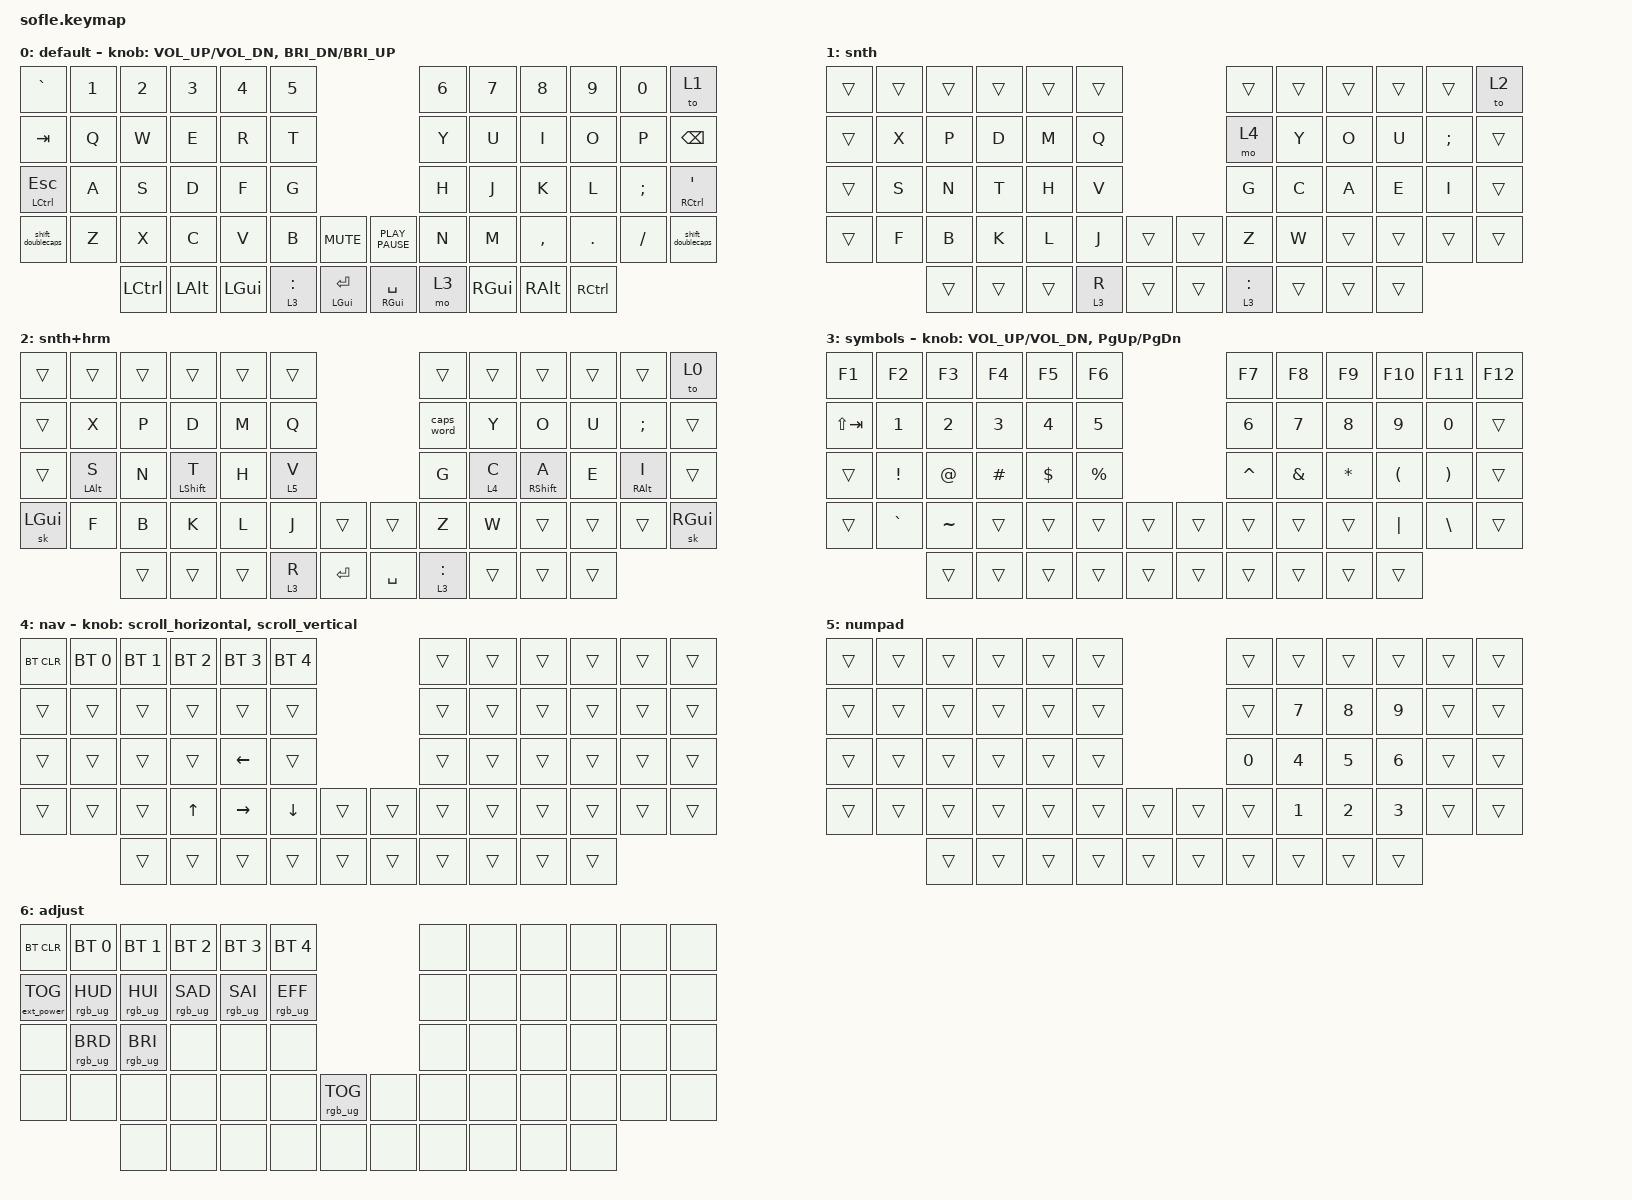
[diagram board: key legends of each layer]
/*
 * Copyright (c) 2020 The ZMK Contributors
 *
 * SPDX-License-Identifier: MIT
 */

#define ZMK_POINTING_DEFAULT_SCRL_VAL 140
#define ZMK_MOUSE_DEFAULT_SCRL_VAL 140
#define ZMK_MOUSE_SCRL_VAL 140

#include <behaviors.dtsi>
#include <dt-bindings/zmk/bt.h>
#include <dt-bindings/zmk/ext_power.h>
#include <dt-bindings/zmk/keys.h>
#include <dt-bindings/zmk/pointing.h>
#include <dt-bindings/zmk/rgb.h>

#define BASE 0
#define LOWER 1
#define RAISE 2
#define ADJUST 3

&led_strip { chain-length = <36>; };

&nice_view_spi { cs-gpios = <&pro_micro 4 GPIO_ACTIVE_HIGH>; };

&mt {
    flavor = "balanced";
    require-prior-idle-ms = <115>;
};

&lt {
    flavor = "balanced";
    require-prior-idle-ms = <115>;
};

/ {
    // Activate ADJUST layer by pressing raise and lower

    conditional_layers {
        compatible = "zmk,conditional-layers";

        adjust_layer {
            if-layers = <3 4>;
            then-layer = <6>;
        };
    };

    behaviors {
        scroll_vertical: scroll_vertical {
            compatible = "zmk,behavior-sensor-rotate";
            label = "SCROLL_VERTICAL";
            #sensor-binding-cells = <0>;
            bindings = <&msc SCRL_UP>, <&msc SCRL_DOWN>;

            tap-ms = <20>;
        };

        scroll_horizontal: scroll_horizontal {
            compatible = "zmk,behavior-sensor-rotate";
            label = "SCROLL_HORIZONTAL";
            #sensor-binding-cells = <0>;
            bindings = <&msc SCRL_LEFT>, <&msc SCRL_RIGHT>;

            tap-ms = <20>;
        };

        layer_hold_layer_tap_stick: layer_hold_layer_tap_stick {
            compatible = "zmk,behavior-hold-tap";
            label = "LAYER_HOLD_LAYER_TAP_STICK";
            bindings = <&mo>, <&sl>;

            #binding-cells = <2>;
            tapping-term-ms = <150>;
        };

        shift_doublecaps: shift_doublecaps {
            compatible = "zmk,behavior-tap-dance";
            label = "SHIFT_DOUBLECAPS";
            #binding-cells = <0>;
            bindings = <&kp LEFT_SHIFT>, <&kp CAPS>;
        };

        hold_symbols_double_toggle_nav: hold_symbols_double_toggle_nav {
            compatible = "zmk,behavior-tap-dance";
            label = "HOLD_SYMBOLS_DOUBLE_TOGGLE_NAV";
            #binding-cells = <0>;
            bindings = <&mo 3>, <&tog 0>;
        };

        mod_sticky: mod_sticky {
            compatible = "zmk,behavior-hold-tap";
            label = "MOD_STICKY";
            bindings = <&kp>, <&sk>;

            #binding-cells = <2>;
            tapping-term-ms = <150>;
        };

        hrm_right: hrm_right {
            compatible = "zmk,behavior-hold-tap";
            label = "HRM_RIGHT";
            bindings = <&kp>, <&kp>;

            #binding-cells = <2>;
            tapping-term-ms = <280>;
            require-prior-idle-ms = <150>;
            flavor = "balanced";
            hold-trigger-on-release;
            hold-trigger-key-positions = <13 14 15 16 17 25 26 27 28 29 37 38 39 40 41 53 12>;
            quick-tap-ms = <175>;
        };

        hrm_left: hrm_left {
            compatible = "zmk,behavior-hold-tap";
            label = "HRM_LEFT";
            bindings = <&kp>, <&kp>;

            #binding-cells = <2>;
            tapping-term-ms = <280>;
            require-prior-idle-ms = <150>;
            flavor = "balanced";
            hold-trigger-on-release;
            quick-tap-ms = <175>;
            hold-trigger-key-positions = <18 19 20 21 22 30 31 32 33 34 44 45 46 47 48 35>;
        };

        hrm_right_layer: hrm_right_layer {
            compatible = "zmk,behavior-hold-tap";
            label = "HRM_RIGHT_LAYER";
            bindings = <&mo>, <&kp>;

            #binding-cells = <2>;
            tapping-term-ms = <280>;
            require-prior-idle-ms = <150>;
            flavor = "balanced";
            hold-trigger-on-release;
            hold-trigger-key-positions = <13 14 15 16 17 25 26 27 28 29 37 38 39 40 41 53 12>;
            quick-tap-ms = <175>;
        };

        hrm_left_layer: hrm_left_layer {
            compatible = "zmk,behavior-hold-tap";
            label = "HRM_LEFT_LAYER";
            bindings = <&mo>, <&kp>;

            #binding-cells = <2>;
            tapping-term-ms = <280>;
            require-prior-idle-ms = <150>;
            flavor = "balanced";
            hold-trigger-on-release;
            quick-tap-ms = <175>;
            hold-trigger-key-positions = <18 19 20 21 22 30 31 32 33 34 44 45 46 47 48 35>;
        };
    };

    combos {
        compatible = "zmk,combos";

        JK_lbracket {
            bindings = <&kp LEFT_BRACKET>;
            key-positions = <31 32>;
        };

        KL_rbracket {
            bindings = <&kp RIGHT_BRACKET>;
            key-positions = <33 32>;
        };

        commadot_underscore {
            bindings = <&kp UNDERSCORE>;
            key-positions = <46 47>;
        };

        mcomma_minus {
            bindings = <&kp MINUS>;
            key-positions = <46 45>;
        };

        dotslatsh_equals {
            bindings = <&kp EQUAL>;
            key-positions = <47 48>;
        };

        nm_plus {
            bindings = <&kp PLUS>;
            key-positions = <44 45>;
        };

        HJ-brace {
            bindings = <&kp LEFT_BRACE>;
            key-positions = <31 30>;
        };

        lcolon-brace {
            bindings = <&kp RIGHT_BRACE>;
            key-positions = <33 34>;
        };

        cut {
            bindings = <&kp LG(X)>;
            key-positions = <37 38>;
        };

        copy {
            bindings = <&kp LG(C)>;
            key-positions = <38 39>;
        };

        paste {
            bindings = <&kp LG(V)>;
            key-positions = <39 40>;
        };

        special_paste {
            bindings = <&kp LA(V)>;
            key-positions = <40 41>;
        };

        numpad-layer {
            bindings = <&mo 5>;
            key-positions = <28 27>;
            layers = <2>;
        };
    };

    keymap {
        compatible = "zmk,keymap";

        qwerty {
            display-name = "default";

            // ------------------------------------------------------------------------------------------------------------
            // |   `        |  1  |  2   |  3   |  4  |  5   |                   |  6   |  7   |  8    |  9    |   0   |       |
            // |  TAB       |  Q  |  W   |  E   |  R  |  T   |                   |  Y   |  U   |  I    |  O    |   P   | BKSPC |
            // |  CTRL/ESC  |  A  |  S   |  D   |  F  |  G   |                   |  H   |  J   |  K    |  L    |   ;   |   '   |
            // | SHIFT      |  Z  |  X   |  C   |  V  |  B   |  MUTE  |  |       |  N   |  M   |  ,    |  .    |   /   | SHIFT |
            //                    | CTRL | ALT  | GUI | LOWER|  ENTER |  | SPACE | RAISE| GUI  | ALT   | CTRL  |

            bindings = <
&kp GRAVE             &kp N1  &kp N2            &kp N3    &kp N4        &kp N5                                                  &kp N6  &kp N7         &kp N8     &kp N9             &kp N0    &to 1
&kp TAB               &kp Q   &kp W             &kp E     &kp R         &kp T                                                   &kp Y   &kp U          &kp I      &kp O              &kp P     &kp BSPC
&mt LEFT_CONTROL ESC  &kp A   &kp S             &kp D     &kp F         &kp G                                                   &kp H   &kp J          &kp K      &kp L              &kp SEMI  &hrm_right RIGHT_CONTROL SINGLE_QUOTE
&shift_doublecaps     &kp Z   &kp X             &kp C     &kp V         &kp B        &kp C_MUTE            &kp K_PLAY_PAUSE     &kp N   &kp M          &kp COMMA  &kp DOT            &kp FSLH  &shift_doublecaps
                              &kp LEFT_CONTROL  &kp LALT  &kp LEFT_GUI  &lt 3 COLON  &mt LEFT_GUI ENTER    &mt RIGHT_GUI SPACE  &mo 3   &kp RIGHT_GUI  &kp RALT   &kp RIGHT_CONTROL
            >;

            sensor-bindings =
                <&inc_dec_kp C_VOL_UP C_VOL_DN>,
                <&inc_dec_kp C_BRI_DN C_BRI_UP>;

            label = "qwerty";
        };

        snth {
            label = "snth";
            bindings = <
&trans  &trans  &trans  &trans  &trans  &trans                     &trans       &trans  &trans  &trans  &trans    &to 2
&trans  &kp X   &kp P   &kp D   &kp M   &kp Q                      &mo 4        &kp Y   &kp O   &kp U   &kp SEMI  &trans
&trans  &kp S   &kp N   &kp T   &kp H   &kp V                      &kp G        &kp C   &kp A   &kp E   &kp I     &trans
&trans  &kp F   &kp B   &kp K   &kp L   &kp J    &trans    &trans  &kp Z        &kp W   &trans  &trans  &trans    &trans
                &trans  &trans  &trans  &lt 3 R  &trans    &trans  &lt 3 COLON  &trans  &trans  &trans
            >;
        };

        snth+hrm {
            label = "snth+hrm";
            bindings = <
&trans        &trans                &trans  &trans                  &trans  &trans                                       &trans       &trans                &trans                    &trans  &trans                  &to 0
&trans        &kp X                 &kp P   &kp D                   &kp M   &kp Q                                        &caps_word   &kp Y                 &kp O                     &kp U   &kp SEMI                &trans
&trans        &hrm_left LEFT_ALT S  &kp N   &hrm_left LEFT_SHIFT T  &kp H   &hrm_left_layer 5 V                          &kp G        &hrm_right_layer 4 C  &hrm_right RIGHT_SHIFT A  &kp E   &hrm_right RIGHT_ALT I  &trans
&sk LEFT_GUI  &kp F                 &kp B   &kp K                   &kp L   &kp J                &trans       &trans     &kp Z        &kp W                 &trans                    &trans  &trans                  &sk RIGHT_GUI
                                    &trans  &trans                  &trans  &lt 3 R              &kp ENTER    &kp SPACE  &lt 3 COLON  &trans                &trans                    &trans
            >;
        };

        symbols {
            display-name = "symbols";

            // TODO: Some binds are waiting for shifted keycode support.
            // ------------------------------------------------------------------------------------------------------------
            // |       |  F1 |  F2 |  F3  |  F4  |  F5  |                   |  F6  |  F7   |  F8   |  F9  |  F10  |  F11  |
            // |   `   |  1  |  2  |  3   |  4   |  5   |                   |  6   |  7    |  8    |  9   |   0   |  F12  |
            // |       |  !  |  @  |  #   |  $   |  %   |                   |  ^   |  &    |  *    |  (   |   )   |   |   |
            // |       |  =  |  -  |  +   |  {   |  }   |        |  |       |  [   |  ]    |  ;    |  :   |   \   |       |
            //               |     |      |      |      |        |  |   _   |      |       |       |      |

            bindings = <
&kp F1       &kp F2     &kp F3     &kp F4    &kp F5    &kp F6                       &kp F7     &kp F8    &kp F9     &kp F10   &kp F11        &kp F12
&kp LS(TAB)  &kp N1     &kp N2     &kp N3    &kp N4    &kp N5                       &kp N6     &kp N7    &kp N8     &kp N9    &kp N0         &trans
&trans       &kp EXCL   &kp AT     &kp HASH  &kp DLLR  &kp PRCNT                    &kp CARET  &kp AMPS  &kp ASTRK  &kp LPAR  &kp RPAR       &trans
&trans       &kp GRAVE  &kp TILDE  &trans    &trans    &trans     &trans    &trans  &trans     &trans    &trans     &kp PIPE  &kp BACKSLASH  &trans
                        &trans     &trans    &trans    &trans     &trans    &trans  &trans     &trans    &trans     &trans
            >;

            sensor-bindings =
                <&inc_dec_kp C_VOL_UP C_VOL_DN>,
                <&inc_dec_kp PAGE_UP PAGE_DOWN>;
        };

        nav {
            display-name = "nav";
            bindings = <
&bt BT_CLR  &bt BT_SEL 0  &bt BT_SEL 1  &bt BT_SEL 2  &bt BT_SEL 3  &bt BT_SEL 4                    &trans  &trans  &trans  &trans  &trans  &trans
&trans      &trans        &trans        &trans        &trans        &trans                          &trans  &trans  &trans  &trans  &trans  &trans
&trans      &trans        &trans        &trans        &kp LEFT      &trans                          &trans  &trans  &trans  &trans  &trans  &trans
&trans      &trans        &trans        &kp UP_ARROW  &kp RIGHT     &kp DOWN      &trans    &trans  &trans  &trans  &trans  &trans  &trans  &trans
                          &trans        &trans        &trans        &trans        &trans    &trans  &trans  &trans  &trans  &trans
            >;

            sensor-bindings = <&scroll_horizontal>, <&scroll_vertical>;
        };

        numpad {
            bindings = <
&trans  &trans  &trans  &trans  &trans  &trans                    &trans  &trans  &trans  &trans  &trans  &trans
&trans  &trans  &trans  &trans  &trans  &trans                    &trans  &kp N7  &kp N8  &kp N9  &trans  &trans
&trans  &trans  &trans  &trans  &trans  &trans                    &kp N0  &kp N4  &kp N5  &kp N6  &trans  &trans
&trans  &trans  &trans  &trans  &trans  &trans  &trans    &trans  &trans  &kp N1  &kp N2  &kp N3  &trans  &trans
                &trans  &trans  &trans  &trans  &trans    &trans  &trans  &trans  &trans  &trans
            >;
        };

        adjust_layer {
            // ----------------------------------------------------------------------------------------------------------------------------
            // | BTCLR  |  BT1    |  BT2    |   BT3   |   BT4   |   BT5   |                  |      |      |       |      |       |       |
            // | EXTPWR | RGB_HUD | RGB_HUI | RGB_SAD | RGB_SAI | RGB_EFF |                  |      |      |       |      |       |       |
            // |        | RGB_BRD | RGB_BRI |         |         |         |                  |      |      |       |      |       |       |
            // |        |         |         |         |         |         | RGB_TOG | |      |      |      |       |      |       |       |
            //                    |         |         |         |         |         | |      |      |      |       |      |

            display-name = "adjust";
            bindings = <
&bt BT_CLR         &bt BT_SEL 0     &bt BT_SEL 1     &bt BT_SEL 2     &bt BT_SEL 3     &bt BT_SEL 4                               &none  &none  &none  &none  &none  &none
&ext_power EP_TOG  &rgb_ug RGB_HUD  &rgb_ug RGB_HUI  &rgb_ug RGB_SAD  &rgb_ug RGB_SAI  &rgb_ug RGB_EFF                            &none  &none  &none  &none  &none  &none
&none              &rgb_ug RGB_BRD  &rgb_ug RGB_BRI  &none            &none            &none                                      &none  &none  &none  &none  &none  &none
&none              &none            &none            &none            &none            &none            &rgb_ug RGB_TOG    &none  &none  &none  &none  &none  &none  &none
                                    &none            &none            &none            &none            &none              &none  &none  &none  &none  &none
            >;
        };
    };
};
